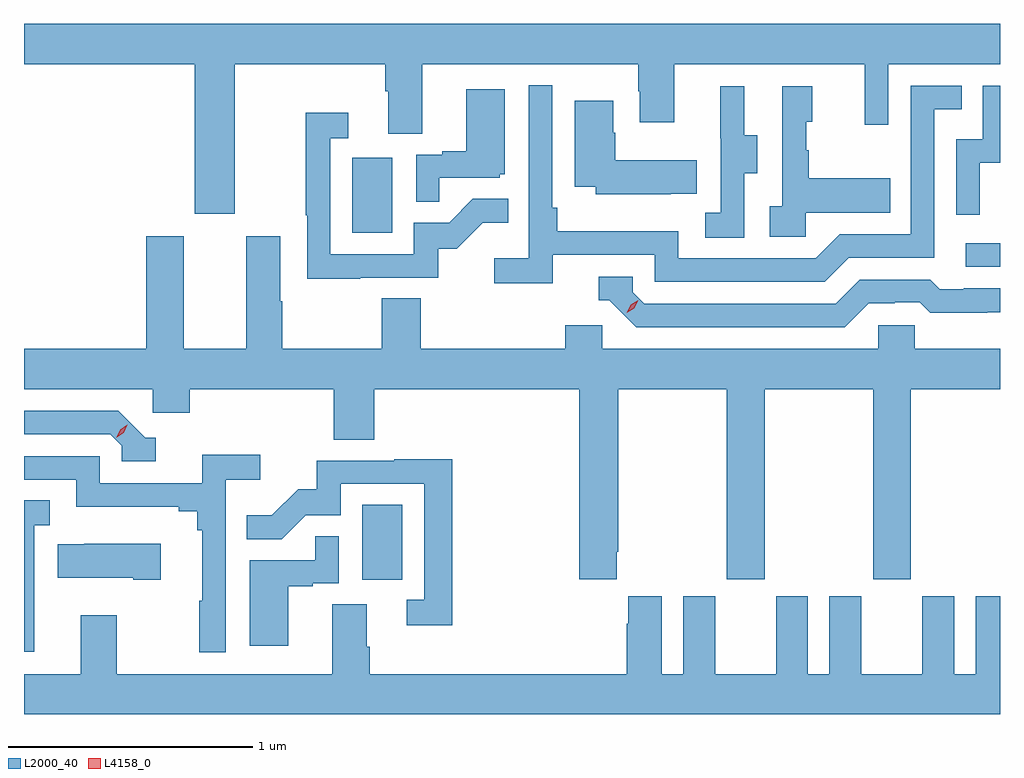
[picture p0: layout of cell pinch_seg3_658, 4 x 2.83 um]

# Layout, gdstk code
import gdstk
lib = gdstk.Library(unit=1e-6, precision=1e-09)
def R(c, l, rs):  # rectangles x0, y0, x1, y1
    for r in rs: c.add(gdstk.rectangle(r[:2], r[2:], *l))
def P(c, l, *ps):  # polygons
    for p in ps: c.add(gdstk.Polygon(p, *l))
L2000_40 = (2000, 40)
L4158_0 = (4158, 0)

pinch_seg3_658 = lib.new_cell('pinch_seg3_658')
R(pinch_seg3_658, L2000_40, [(1058.69,670.83,1058.854,671.137), (1061.163,672.114,1061.303,672.21), (1058.648,672.252,1058.812,672.559)])
P(pinch_seg3_658, L2000_40, [(1058.167,672.944),(1058.783,672.944),(1058.783,672.832),(1058.795,672.832),(1058.795,672.658),(1058.935,672.658),(1058.935,672.944),(1059.82,672.944),(1059.82,672.833),(1059.827,672.833),(1059.827,672.705),(1059.967,672.705),(1059.967,672.944),(1060.748,672.944),(1060.748,672.696),(1060.845,672.696),(1060.845,672.944),(1061.303,672.944),(1061.303,673.108),(1057.303,673.108),(1057.303,672.944),(1058.003,672.944),(1058.003,672.33),(1058.167,672.33)],
  [(1059.47,672.162),(1059.888,672.162),(1059.888,672.051),(1060.585,672.051),(1060.684,672.15),(1061.034,672.15),(1061.034,672.759),(1061.147,672.759),(1061.147,672.855),(1060.938,672.855),(1060.938,672.246),(1060.647,672.246),(1060.548,672.147),(1059.984,672.147),(1059.984,672.259),(1059.488,672.259),(1059.488,672.355),(1059.468,672.355),(1059.468,672.856),(1059.372,672.856),(1059.372,672.148),(1059.231,672.148),(1059.231,672.046),(1059.47,672.046)],
  [(1061.22,672.539),(1061.303,672.539),(1061.303,672.855),(1061.232,672.855),(1061.232,672.636),(1061.124,672.636),(1061.124,672.327),(1061.22,672.327)],
  [(1060.506,672.335),(1060.853,672.335),(1060.853,672.475),(1060.519,672.475),(1060.519,672.59),(1060.509,672.59),(1060.509,672.708),(1060.534,672.708),(1060.534,672.853),(1060.41,672.853),(1060.41,672.362),(1060.359,672.362),(1060.359,672.237),(1060.506,672.237)],
  [(1060.254,672.496),(1060.309,672.496),(1060.309,672.651),(1060.255,672.651),(1060.255,672.853),(1060.157,672.853),(1060.157,672.639),(1060.158,672.639),(1060.158,672.335),(1060.095,672.335),(1060.095,672.232),(1060.254,672.232)],
  [(1059.005,672.477),(1059.252,672.477),(1059.252,672.492),(1059.274,672.492),(1059.274,672.841),(1059.116,672.841),(1059.116,672.586),(1059.017,672.586),(1059.017,672.573),(1058.91,672.573),(1058.91,672.379),(1059.005,672.379)],
  [(1059.953,672.413),(1060.061,672.413),(1060.061,672.55),(1059.726,672.55),(1059.726,672.663),(1059.718,672.663),(1059.718,672.793),(1059.56,672.793),(1059.56,672.44),(1059.647,672.44),(1059.647,672.41),(1059.953,672.41)],
  [(1058.681,672.069),(1059,672.069),(1059,672.186),(1059.076,672.186),(1059.183,672.293),(1059.287,672.293),(1059.287,672.392),(1059.143,672.392),(1059.045,672.294),(1058.901,672.294),(1058.901,672.165),(1058.559,672.165),(1058.559,672.639),(1058.632,672.639),(1058.632,672.745),(1058.458,672.745),(1058.458,672.325),(1058.463,672.325),(1058.463,672.064),(1058.681,672.064)],
  [(1060.938,671.612),(1061.303,671.612),(1061.303,671.776),(1060.953,671.776),(1060.953,671.874),(1060.803,671.874),(1060.803,671.776),(1059.672,671.776),(1059.672,671.874),(1059.521,671.874),(1059.521,671.776),(1058.93,671.776),(1058.93,671.984),(1058.77,671.984),(1058.77,671.776),(1058.361,671.776),(1058.361,671.972),(1058.353,671.972),(1058.353,672.238),(1058.213,672.238),(1058.213,671.776),(1057.957,671.776),(1057.957,672.238),(1057.805,672.238),(1057.805,671.776),(1057.303,671.776),(1057.303,671.612),(1057.83,671.612),(1057.83,671.514),(1057.982,671.514),(1057.982,671.612),(1058.573,671.612),(1058.573,671.404),(1058.738,671.404),(1058.738,671.612),(1059.578,671.612),(1059.578,670.833),(1059.733,670.833),(1059.733,670.945),(1059.738,670.945),(1059.738,671.612),(1060.183,671.612),(1060.183,670.833),(1060.338,670.833),(1060.338,671.612),(1060.783,671.612),(1060.783,670.833),(1060.938,670.833)],
  [(1060.765,671.964),(1060.872,671.964),(1060.872,671.967),(1060.975,671.967),(1061.017,671.925),(1061.25,671.925),(1061.25,671.927),(1061.303,671.927),(1061.303,672.024),(1061.155,672.024),(1061.155,672.021),(1061.056,672.021),(1061.017,672.06),(1060.728,672.06),(1060.629,671.961),(1059.846,671.961),(1059.798,672.009),(1059.798,672.072),(1059.659,672.072),(1059.659,671.976),(1059.702,671.976),(1059.813,671.865),(1060.666,671.865)],
  [(1057.843,671.412),(1057.8,671.412),(1057.689,671.523),(1057.303,671.523),(1057.303,671.427),(1057.656,671.427),(1057.704,671.379),(1057.704,671.316),(1057.843,671.316)],
  [(1058.13,671.24),(1058.272,671.24),(1058.272,671.342),(1058.033,671.342),(1058.033,671.226),(1057.614,671.226),(1057.614,671.337),(1057.303,671.337),(1057.303,671.241),(1057.518,671.241),(1057.518,671.129),(1057.937,671.129),(1057.937,671.11),(1058.014,671.11),(1058.014,671.033),(1058.033,671.033),(1058.033,670.745),(1058.022,670.745),(1058.022,670.533),(1058.13,670.533)],
  [(1059.059,671.324),(1058.821,671.324),(1058.821,671.319),(1058.503,671.319),(1058.503,671.202),(1058.426,671.202),(1058.319,671.095),(1058.215,671.095),(1058.215,670.996),(1058.359,670.996),(1058.457,671.094),(1058.601,671.094),(1058.601,671.223),(1058.943,671.223),(1058.943,670.749),(1058.871,670.749),(1058.871,670.644),(1059.059,670.644)],
  [(1057.346,670.749),(1057.344,670.749),(1057.344,671.053),(1057.408,671.053),(1057.408,671.156),(1057.303,671.156),(1057.303,670.536),(1057.346,670.536)],
  [(1058.386,670.803),(1058.486,670.803),(1058.486,670.815),(1058.592,670.815),(1058.592,671.009),(1058.497,671.009),(1058.497,670.911),(1058.228,670.911),(1058.228,670.56),(1058.386,670.56)],
  [(1057.864,670.978),(1057.549,670.978),(1057.549,670.975),(1057.441,670.975),(1057.441,670.838),(1057.751,670.838),(1057.751,670.831),(1057.864,670.831)],
  [(1061.303,670.762),(1061.204,670.762),(1061.204,670.444),(1061.116,670.444),(1061.116,670.762),(1060.985,670.762),(1060.985,670.444),(1060.735,670.444),(1060.735,670.762),(1060.604,670.762),(1060.604,670.444),(1060.516,670.444),(1060.516,670.762),(1060.385,670.762),(1060.385,670.444),(1060.135,670.444),(1060.135,670.762),(1060.004,670.762),(1060.004,670.444),(1059.916,670.444),(1059.916,670.762),(1059.779,670.762),(1059.779,670.649),(1059.773,670.649),(1059.773,670.444),(1058.72,670.444),(1058.72,670.556),(1058.707,670.556),(1058.707,670.73),(1058.567,670.73),(1058.567,670.444),(1057.683,670.444),(1057.683,670.684),(1057.535,670.684),(1057.535,670.444),(1057.303,670.444),(1057.303,670.28),(1061.303,670.28)])
P(pinch_seg3_658, L4158_0, [(1059.774,671.924),(1059.774,671.924),(1059.79,671.957),(1059.821,671.976),(1059.821,671.976),(1059.821,671.975),(1059.805,671.943),(1059.774,671.924)],
  [(1057.681,671.412),(1057.681,671.412),(1057.697,671.445),(1057.727,671.465),(1057.727,671.465),(1057.727,671.465),(1057.712,671.432),(1057.682,671.412)])

lib.write_gds('pinch_seg3_658.gds')
